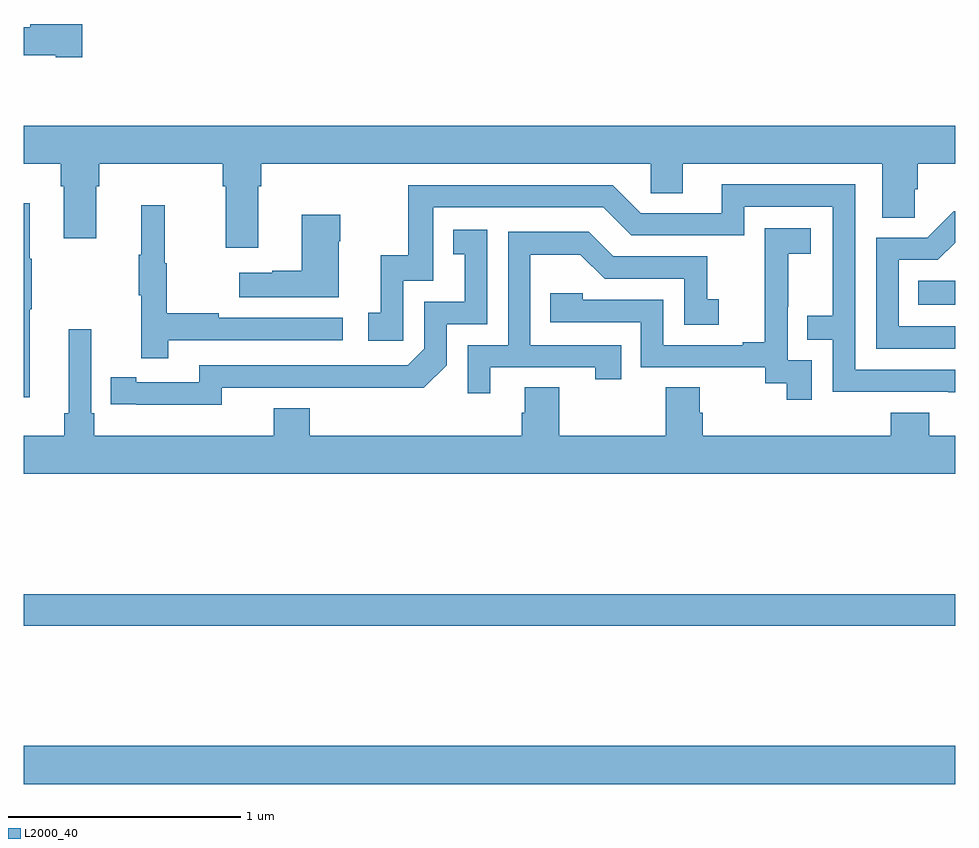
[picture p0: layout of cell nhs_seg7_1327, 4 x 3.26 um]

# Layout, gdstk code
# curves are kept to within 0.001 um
import gdstk
lib = gdstk.Library(unit=1e-6, precision=1e-09)
def R(c, l, rs):  # rectangles x0, y0, x1, y1
    for r in rs: c.add(gdstk.rectangle(r[:2], r[2:], *l))
def P(c, l, *ps):  # polygons
    for p in ps: c.add(gdstk.Polygon(p, *l))
L2000_40 = (2000, 40)

nhs_seg7_1327 = lib.new_cell('nhs_seg7_1327')
R(nhs_seg7_1327, L2000_40, [(203,1016.6,207,1016.764), (203,1017.28,207,1017.416), (206.842,1018.658,207,1018.762)])
P(nhs_seg7_1327, L2000_40, [(203.251,1019.864),(203.028,1019.864),(203.028,1019.851),(203,1019.851),(203,1019.729),(203.138,1019.729),(203.138,1019.722),(203.251,1019.722)],
  [(204.007,1019.168),(204.02,1019.168),(204.02,1019.264),(205.692,1019.264),(205.692,1019.137),(205.831,1019.137),(205.831,1019.264),(206.687,1019.264),(206.687,1019.032),(206.826,1019.032),(206.826,1019.155),(206.84,1019.155),(206.84,1019.264),(207,1019.264),(207,1019.428),(203,1019.428),(203,1019.264),(203.159,1019.264),(203.159,1019.168),(203.171,1019.168),(203.171,1018.944),(203.311,1018.944),(203.311,1019.168),(203.324,1019.168),(203.324,1019.264),(203.855,1019.264),(203.855,1019.168),(203.867,1019.168),(203.867,1018.902),(204.007,1018.902)],
  [(207,1018.38),(206.571,1018.38),(206.571,1019.175),(205.997,1019.175),(205.997,1019.052),(205.65,1019.052),(205.53,1019.172),(204.651,1019.172),(204.651,1018.87),(204.533,1018.87),(204.533,1018.623),(204.48,1018.623),(204.48,1018.503),(204.63,1018.503),(204.63,1018.761),(204.759,1018.761),(204.759,1019.076),(205.488,1019.076),(205.608,1018.956),(206.094,1018.956),(206.094,1019.079),(206.475,1019.079),(206.475,1018.61),(206.365,1018.61),(206.365,1018.509),(206.475,1018.509),(206.475,1018.284),(207,1018.283)],
  [(203.026,1018.639),(203.034,1018.639),(203.034,1018.856),(203.026,1018.856),(203.026,1019.095),(203,1019.095),(203,1018.26),(203.026,1018.26)],
  [(203.621,1018.506),(204.37,1018.506),(204.37,1018.602),(203.837,1018.602),(203.837,1018.622),(203.614,1018.622),(203.614,1018.836),(203.606,1018.836),(203.606,1019.086),(203.504,1019.086),(203.504,1018.873),(203.493,1018.873),(203.493,1018.699),(203.504,1018.699),(203.504,1018.428),(203.621,1018.428)],
  [(207,1018.566),(206.757,1018.566),(206.757,1018.851),(206.926,1018.851),(207,1018.925),(207,1019.06),(206.993,1019.06),(206.88,1018.947),(206.661,1018.947),(206.661,1018.47),(207,1018.47)],
  [(204.352,1018.931),(204.36,1018.931),(204.36,1019.044),(204.194,1019.044),(204.194,1018.805),(204.068,1018.805),(204.068,1018.795),(203.925,1018.795),(203.925,1018.691),(204.352,1018.691)],
  [(206.385,1018.419),(206.28,1018.419),(206.28,1018.649),(206.282,1018.649),(206.282,1018.877),(206.38,1018.877),(206.38,1018.987),(206.182,1018.987),(206.182,1018.781),(206.183,1018.781),(206.183,1018.498),(206.087,1018.498),(206.087,1018.485),(205.746,1018.485),(205.746,1018.68),(205.401,1018.68),(205.401,1018.707),(205.261,1018.707),(205.261,1018.584),(205.65,1018.584),(205.65,1018.389),(206.184,1018.389),(206.184,1018.321),(206.277,1018.321),(206.277,1018.251),(206.385,1018.251)],
  [(203.85,1018.302),(204.718,1018.301),(204.816,1018.398),(204.816,1018.575),(204.99,1018.575),(204.99,1018.981),(204.844,1018.981),(204.844,1018.875),(204.893,1018.875),(204.893,1018.671),(204.72,1018.671),(204.72,1018.47),(204.648,1018.398),(203.754,1018.398),(203.754,1018.326),(203.482,1018.326),(203.482,1018.346),(203.374,1018.346),(203.374,1018.23),(203.85,1018.229)],
  [(205.003,1018.389),(205.454,1018.389),(205.454,1018.338),(205.565,1018.338),(205.565,1018.485),(205.176,1018.485),(205.176,1018.874),(205.39,1018.874),(205.494,1018.77),(205.836,1018.77),(205.836,1018.572),(205.984,1018.572),(205.984,1018.681),(205.935,1018.681),(205.935,1018.866),(205.531,1018.866),(205.426,1018.971),(205.08,1018.971),(205.08,1018.485),(204.906,1018.485),(204.906,1018.278),(205.003,1018.278)],
  [(207,1018.096),(206.888,1018.096),(206.888,1018.195),(206.723,1018.195),(206.723,1018.096),(205.916,1018.096),(205.916,1018.194),(205.903,1018.194),(205.903,1018.304),(205.756,1018.304),(205.756,1018.096),(205.299,1018.096),(205.299,1018.304),(205.151,1018.304),(205.151,1018.194),(205.139,1018.194),(205.139,1018.096),(204.227,1018.096),(204.227,1018.213),(204.074,1018.213),(204.074,1018.096),(203.303,1018.096),(203.303,1018.192),(203.289,1018.192),(203.289,1018.552),(203.192,1018.552),(203.192,1018.192),(203.173,1018.192),(203.173,1018.096),(203,1018.096),(203,1017.932),(207,1017.932)])

lib.write_gds('nhs_seg7_1327.gds')
